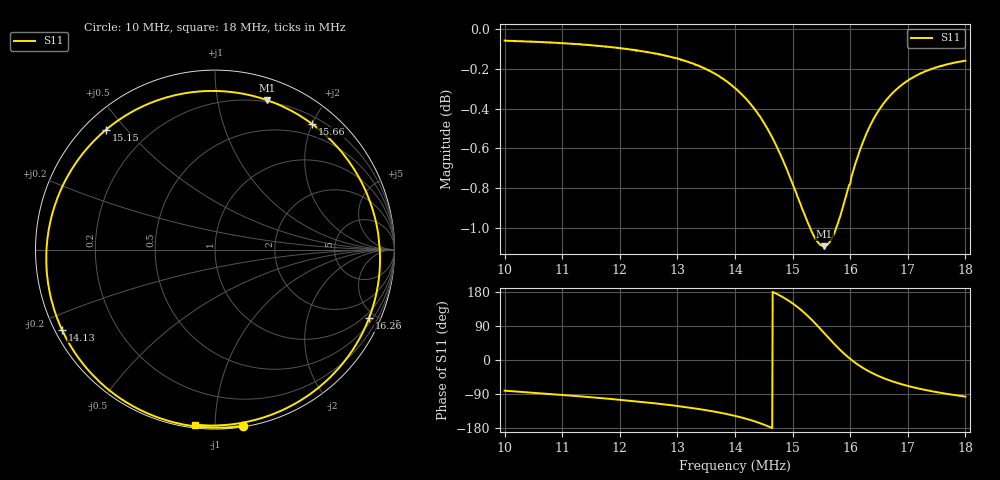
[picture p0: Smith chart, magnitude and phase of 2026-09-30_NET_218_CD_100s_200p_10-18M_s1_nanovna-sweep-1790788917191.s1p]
! NanoVNA Web complex sweep
! Processing: unaveraged complex samples; linear segment spacing; no smoothing
# Hz S RI R 50
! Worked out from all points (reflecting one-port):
!   1010 points, 10 MHz to 18 MHz, reference 50 ohm
!   lowest |S11| = -1.1 dB at 15.55 MHz (marker M1), VSWR 15.91, Z = 9.29 + j69.5 ohm
!   phase of S11 starts at -81 deg and turns -376 deg over the sweep
!   S11 on the Smith chart (normalised r, x): 10 MHz: 0.01, -1.17; 14.13 MHz: 0.02, -0.25; 15.15 MHz: 0.06, +0.44; 15.66 MHz: 0.31, +1.99; 16.26 MHz: 0.71, -4.60; 18 MHz: 0.02, -0.89
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1e7  0.1556 -0.9812
1.100698e7  -0.039 -0.9912
1.200604e7  -0.2568 -0.9552
1.300509e7  -0.5132 -0.8388
1.356012e7  -0.6777 -0.7025
1.400414e7  -0.8159 -0.5178
1.413101e7  -0.8532 -0.4454
1.440852e7  -0.9203 -0.2419
1.466225e7  -0.938 0.0143
1.484462e7  -0.8927 0.2452
1.50032e7  -0.7839 0.4701
1.514592e7  -0.6068 0.6685
1.526486e7  -0.3926 0.803
1.536793e7  -0.1623 0.8722
1.546308e7  0.0723 0.88
1.55503e7  0.2896 0.8328
1.566131e7  0.54 0.7008
1.582782e7  0.8047 0.3972
1.591503e7  0.88 0.2182
1.600225e7  0.9134 0.0429
1.612119e7  0.9111 -0.1754
1.625598e7  0.8581 -0.3823
1.641456e7  0.7599 -0.5697
1.6589e7  0.6359 -0.7168
1.67793e7  0.5013 -0.8247
1.700131e7  0.3562 -0.903
1.742947e7  0.1227 -0.9697
1.800036e7  -0.1122 -0.9754
